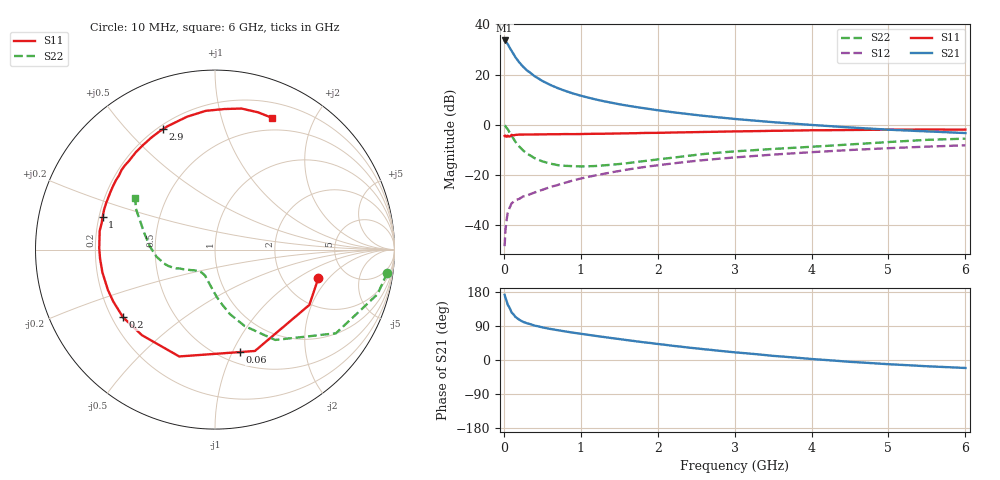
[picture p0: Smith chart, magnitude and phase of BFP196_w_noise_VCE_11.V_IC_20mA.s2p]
! Infineon Technologies  Discrete & RF Semiconductors
! BFP196
! VCE =  11. V,  IC =  20 mA
! Common Emitter S-Parameters:  Jan 2017
# GHz  S  MA  R  50
!  f  S11  S21  S12  S22
! GHz  MAG  ANG  MAG  ANG  MAG  ANG  MAG  ANG
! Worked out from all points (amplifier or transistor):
!   77 points, 10 MHz to 6 GHz, reference 50 ohm
!   highest |S21| = 33.6 dB at 10 MHz (marker M1)
!   |S21| within 3 dB of that: start of sweep to 78.48 MHz
!   unconditionally stable (mu >= 1): 821.9 MHz to 2.389 GHz
!   at 130 MHz: K = 0.37, MSG = 29.3 dB, |S12| = -30.6 dB
!   at 2.2 GHz: K = 1.01, MAG = 9.4 dB, |S12| = -15.4 dB
!   at 6 GHz: K = 0.91, MSG = 2.4 dB, |S12| = -8.2 dB
!   lowest NFmin = 1.10 dB at 450 MHz
!   S11 on the Smith chart (normalised r, x): 10 MHz: 3.14, -1.55; 60 MHz: 0.61, -1.07; 200 MHz: 0.25, -0.31; 1 GHz: 0.21, +0.14; 2.9 GHz: 0.22, +0.63; 6 GHz: 0.36, +1.46
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0.01  0.5974 -15.4  47.73 172.1  0.0038 74.6  0.9686 -7.6
0.02  0.6094 -30.4  47.21 165.0  0.0074 79.9  0.9392 -15.3
0.05  0.607 -68.5  40.49 146.0  0.0173 61.9  0.8191 -34.7
0.06  0.5874 -76.4  38.01 142.9  0.0192 58.7  0.7691 -38.0
0.1  0.6278 -108.5  29.69 125.5  0.027 50.6  0.605 -56.3
0.15  0.627 -130.5  22.19 113.8  0.0312 45.2  0.4578 -68.7
0.2  0.6362 -143.6  17.49 106.3  0.0333 44.6  0.3687 -77.0
0.25  0.6364 -152.9  14.34 100.7  0.0371 44.2  0.308 -82.6
0.3  0.6376 -159.4  12.11 97.0  0.0389 45.7  0.2662 -87.6
0.4  0.6402 -168.6  9.251 90.8  0.0446 48.8  0.2156 -94.7
0.5  0.6424 -175.5  7.444 86.1  0.0503 51.7  0.186 -100.8
0.6  0.645 179.3  6.249 82.1  0.0571 53.6  0.1684 -106.2
0.7  0.6461 175.0  5.366 78.7  0.0629 55.2  0.1566 -110.1
1  0.6522 163.7  3.79 69.2  0.0847 57.3  0.1476 -121.5
1.1  0.6568 160.2  3.455 66.3  0.0913 57.6  0.1486 -124.2
1.5  0.6692 148.2  2.558 55.3  0.1196 56.3  0.1647 -135.9
2.1  0.6934 131.5  1.855 40.0  0.1623 51.6  0.2119 -149.3
2.9  0.731 113.4  1.35 22.3  0.2163 43.2  0.286 -163.0
3.1  0.7386 109.4  1.265 18.6  0.2286 41.0  0.3009 -166.7
4.1  0.7758 92.2  0.967 1.2  0.2893 29.9  0.3712 174.8
5.1  0.7991 78.0  0.783 -12.1  0.3455 18.5  0.4606 157.1
6  0.7998 66.7  0.682 -21.1  0.3891 8.3  0.5277 147.1
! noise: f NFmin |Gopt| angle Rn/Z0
0.45  1.1  0.34  159  0.05
0.9  1.3  0.47  179  0.06
1.9  2.2  0.68  -137  0.24
2.4  2.65  0.72  -122  0.59
